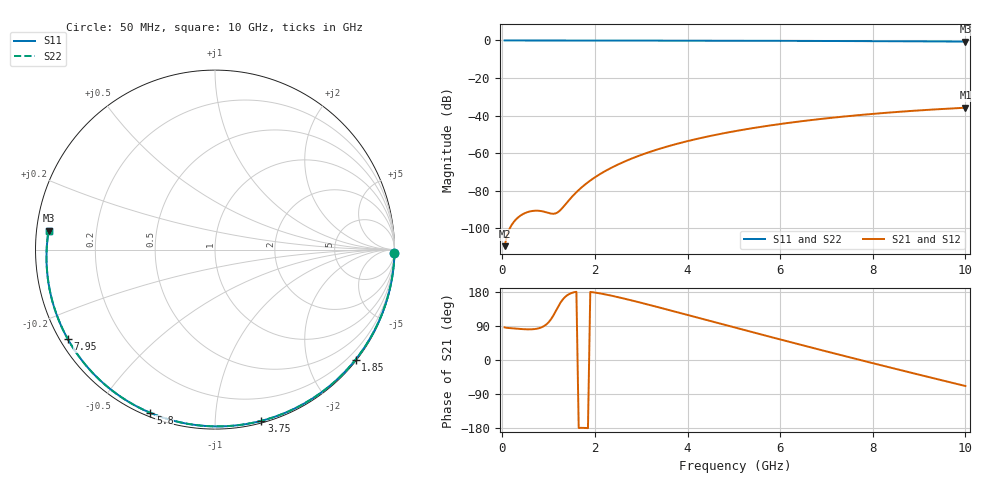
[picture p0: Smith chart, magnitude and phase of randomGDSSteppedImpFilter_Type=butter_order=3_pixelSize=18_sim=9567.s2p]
! freq	dB(S11)	phase(S11)	dB(S12)	phase(S12)
!  dB(S21)	phase(S21)	dB(S22)	phase(S22)
!S-par simulation data
#  GHz  S  DB  R 50
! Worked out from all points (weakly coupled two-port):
!   200 points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, 50 MHz to 10 GHz, reference 50 ohm
!   highest |S21| = -35.80 dB at 10 GHz (marker M1); lowest = -109.4 dB at 50 MHz (marker M2)
!   lowest |S11| = -0.6 dB at 10 GHz (marker M3), VSWR 28.88, Z = 1.74 + j2.83 ohm
!   |S11| at or under -10 dB: nowhere
!   |S22| runs from -0.6 to 0.0 dB; largest |S21 - S12| = 0
!   S11 on the Smith chart (normalised r, x): 50 MHz: open; 1.85 GHz: 0.03, -2.90; 3.75 GHz: 0.02, -1.31; 5.8 GHz: 0.02, -0.68; 7.95 GHz: 0.02, -0.28; 10 GHz: 0.03, +0.06
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0.05  -0.00 -1.1  -109.44 86.1  -109.44 86.1  -0.00 -1.1
0.4  -0.01 -8.4  -93.06 81.8  -93.06 81.8  -0.01 -8.4
0.8  -0.02 -16.7  -90.65 84.1  -90.65 84.1  -0.02 -16.7
1.2  -0.03 -24.9  -91.39 139.3  -91.39 139.3  -0.03 -24.9
1.6  -0.04 -33.0  -80.73 180.0  -80.73 180.0  -0.04 -33.0
1.65  -0.04 -34.0  -79.55 -179.3  -79.55 -179.3  -0.04 -34.0
1.75  -0.05 -36.1  -77.39 -179.1  -77.39 -179.1  -0.05 -36.1
1.85  -0.05 -38.1  -75.43 -179.8  -75.43 -179.8  -0.05 -38.1
2.15  -0.06 -44.0  -70.50 174.9  -70.50 174.9  -0.06 -44.0
2.5  -0.07 -50.9  -65.97 165.8  -65.97 165.8  -0.07 -50.9
2.9  -0.08 -58.7  -61.81 154.0  -61.81 154.0  -0.08 -58.7
3.4  -0.09 -68.3  -57.60 138.3  -57.60 138.3  -0.09 -68.3
3.75  -0.10 -74.8  -55.13 127.0  -55.13 127.0  -0.10 -74.8
4.4  -0.12 -86.8  -51.28 105.9  -51.28 105.9  -0.12 -86.8
5.05  -0.15 -98.4  -48.14 84.8  -48.14 84.8  -0.15 -98.4
5.8  -0.19 -111.6  -45.16 60.7  -45.16 60.7  -0.19 -111.6
6.7  -0.25 -127.1  -42.26 32.1  -42.26 32.1  -0.25 -127.1
7.35  -0.30 -138.3  -40.54 11.7  -40.54 11.7  -0.30 -138.3
7.95  -0.36 -148.7  -39.17 -6.9  -39.17 -6.9  -0.36 -148.7
8.35  -0.40 -155.7  -38.36 -19.1  -38.36 -19.1  -0.40 -155.7
9.2  -0.50 -171.1  -36.90 -44.8  -36.90 -44.8  -0.50 -171.1
10  -0.60 173.5  -35.80 -68.7  -35.80 -68.7  -0.60 173.5
